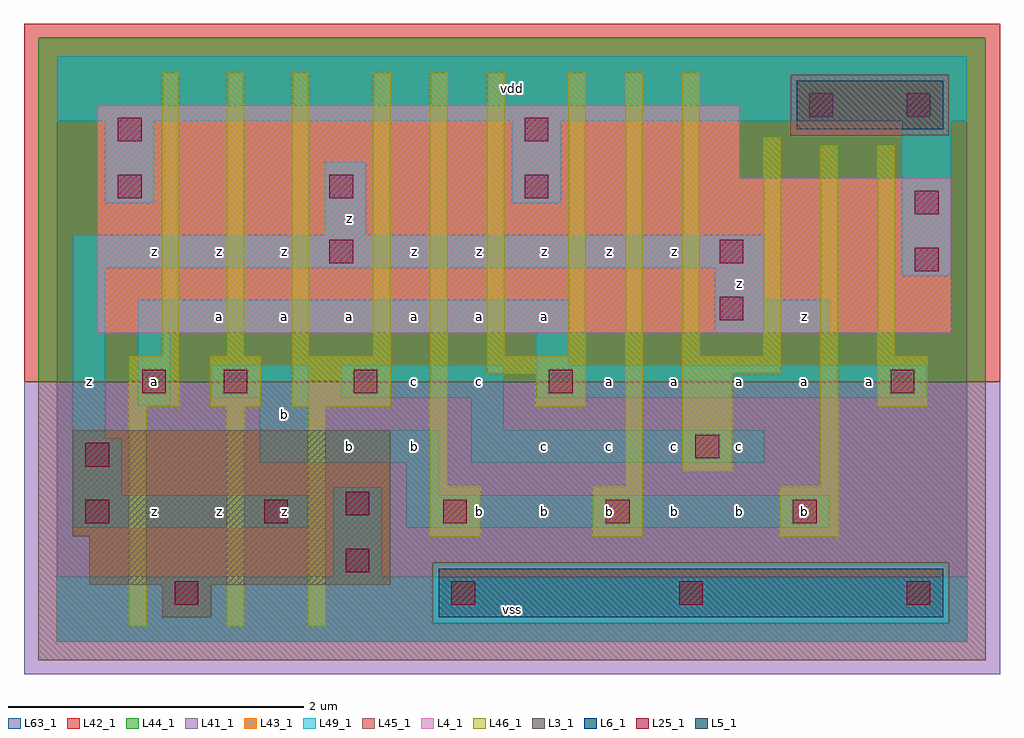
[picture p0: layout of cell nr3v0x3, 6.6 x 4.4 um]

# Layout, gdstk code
import gdstk
lib = gdstk.Library(unit=1e-6, precision=1e-09)
def R(c, l, rs):  # rectangles x0, y0, x1, y1
    for r in rs: c.add(gdstk.rectangle(r[:2], r[2:], *l))
def A(c, l, x, y, w, h, nx, ny, dx, dy):  # array of equal rectangles
    R(c, l, [(x+i*dx, y+j*dy, x+i*dx+w, y+j*dy+h) for i in range(nx) for j in range(ny)])
L3_1 = (3, 1)
L4_1 = (4, 1)
L5_1 = (5, 1)
L6_1 = (6, 1)
L25_1 = (25, 1)
L41_1 = (41, 1)
L42_1 = (42, 1)
L43_1 = (43, 1)
L44_1 = (44, 1)
L45_1 = (45, 1)
L46_1 = (46, 1)
L49_1 = (49, 1)
L63_1 = (63, 1)

nr3v0x3 = lib.new_cell('nr3v0x3')
R(nr3v0x3, L3_1, [(0.715,0.165,1.045,0.385), (0.22,0.385,2.255,0.715), (0.11,0.715,2.255,1.43)])
R(nr3v0x3, L4_1, [(0.275,2.09,6.05,3.135), (0.275,3.135,4.62,3.63)])
R(nr3v0x3, L5_1, [(5.005,3.465,5.995,3.795)])
R(nr3v0x3, L6_1, [(2.585,0.165,5.995,0.495)])
A(nr3v0x3, L25_1, 2.67, 0.25, 0.16, 0.16, 3, 1, 1.54, 0)
A(nr3v0x3, L25_1, 0.195, 0.8, 0.16, 0.16, 3, 1, 1.21, 0)
R(nr3v0x3, L25_1, [(0.8,0.25,0.96,0.41), (1.955,0.47,2.115,0.63), (3.715,0.8,3.875,0.96), (4.98,0.8,5.14,0.96), (1.955,0.855,2.115,1.015), (0.195,1.185,0.355,1.345), (4.32,1.24,4.48,1.4), (0.58,1.68,0.74,1.84), (1.13,1.68,1.29,1.84), (2.01,1.68,2.17,1.84), (3.33,1.68,3.49,1.84), (5.64,1.68,5.8,1.84), (4.485,2.175,4.645,2.335), (5.805,2.505,5.965,2.665), (1.845,2.56,2.005,2.72), (4.485,2.56,4.645,2.72), (5.805,2.89,5.965,3.05), (0.415,3,0.575,3.16), (1.845,3,2.005,3.16), (3.165,3,3.325,3.16), (0.415,3.385,0.575,3.545), (3.165,3.385,3.325,3.545), (5.09,3.55,5.25,3.71), (5.75,3.55,5.91,3.71)])
R(nr3v0x3, L41_1, [(-0.22,-0.22,6.38,1.76)])
R(nr3v0x3, L42_1, [(-0.22,1.76,6.38,4.18)])
R(nr3v0x3, L43_1, [(0.715,0.165,1.045,0.385), (2.585,0.165,5.995,0.495), (0.22,0.385,2.255,0.715), (0.11,0.715,2.255,1.43), (0.275,2.09,6.05,3.135), (0.275,3.135,4.62,3.63), (5.005,3.465,5.995,3.795)])
R(nr3v0x3, L44_1, [(2.545,0.125,6.035,0.535), (-0.125,1.76,6.285,3.425), (-0.125,3.425,4.965,3.835), (6.035,3.425,6.285,3.835), (-0.125,3.835,6.285,4.085)])
R(nr3v0x3, L45_1, [(-0.125,-0.125,6.285,0.125), (-0.125,0.125,2.545,0.535), (6.035,0.125,6.285,0.535), (-0.125,0.535,6.285,1.76), (4.965,3.425,6.035,3.835)])
A(nr3v0x3, L46_1, 0.71, 1.93, 0.12, 1.925, 3, 1, 0.44, 0)
R(nr3v0x3, L46_1, [(0.49,0.105,0.61,1.59), (1.15,0.105,1.27,1.59), (1.7,0.105,1.82,1.59), (2.525,0.71,2.865,1.05), (3.625,0.71,3.965,1.05), (4.89,0.71,5.285,1.05), (2.525,1.05,2.645,3.855), (3.845,1.05,3.965,3.855), (5.165,1.05,5.285,3.36), (4.23,1.15,4.57,1.81), (0.49,1.59,0.83,1.93), (1.04,1.59,1.38,1.93), (1.59,1.59,2.26,1.93), (3.24,1.59,3.58,1.81), (5.55,1.59,5.89,1.93), (2.91,1.81,3.58,1.93), (4.23,1.81,4.9,1.93), (2.14,1.93,2.26,3.855), (2.91,1.93,3.03,3.855), (3.46,1.93,3.58,3.855), (4.23,1.93,4.35,3.855), (4.78,1.93,4.9,3.415), (5.55,1.93,5.67,3.36)])
R(nr3v0x3, L49_1, [(0,0,6.16,0.44), (1.87,0.44,2.2,1.045), (0.11,0.77,1.705,0.99), (2.365,0.77,5.225,0.99), (0.11,0.99,0.44,1.375), (2.365,0.99,2.585,1.21), (1.375,1.21,2.585,1.43), (2.805,1.21,4.785,1.43), (0.11,1.375,0.33,2.53), (1.375,1.43,1.705,1.65), (2.805,1.43,3.025,1.65), (0.55,1.595,0.77,2.09), (1.045,1.65,1.705,1.87), (1.925,1.65,3.025,1.87), (3.245,1.65,5.885,1.87), (3.245,1.87,3.465,2.09), (0.55,2.09,3.465,2.31), (4.455,2.09,5.225,2.31), (4.455,2.31,4.785,2.53), (5.72,2.475,6.05,3.52), (0.11,2.53,4.785,2.75), (1.815,2.75,2.09,3.245), (0.33,2.97,0.66,3.52), (3.08,2.97,3.41,3.52), (0,3.52,6.16,3.96)])
R(nr3v0x3, L63_1, [(0,0,6.16,3.96)])
nr3v0x3.add(gdstk.Label('z', (0.66,0.88), layer=49, texttype=1))
nr3v0x3.add(gdstk.Label('z', (0.22,1.76), layer=49, texttype=1))
nr3v0x3.add(gdstk.Label('a', (0.66,1.76), layer=49, texttype=1))
nr3v0x3.add(gdstk.Label('z', (0.66,2.64), layer=49, texttype=1))
nr3v0x3.add(gdstk.Label('z', (1.54,0.88), layer=49, texttype=1))
nr3v0x3.add(gdstk.Label('z', (1.1,0.88), layer=49, texttype=1))
nr3v0x3.add(gdstk.Label('b', (1.98,1.32), layer=49, texttype=1))
nr3v0x3.add(gdstk.Label('b', (1.54,1.54), layer=49, texttype=1))
nr3v0x3.add(gdstk.Label('a', (1.1,2.2), layer=49, texttype=1))
nr3v0x3.add(gdstk.Label('a', (1.98,2.2), layer=49, texttype=1))
nr3v0x3.add(gdstk.Label('a', (1.54,2.2), layer=49, texttype=1))
nr3v0x3.add(gdstk.Label('z', (1.1,2.64), layer=49, texttype=1))
nr3v0x3.add(gdstk.Label('z', (1.98,2.86), layer=49, texttype=1))
nr3v0x3.add(gdstk.Label('z', (1.54,2.64), layer=49, texttype=1))
nr3v0x3.add(gdstk.Label('vss', (3.08,0.22), layer=49, texttype=1))
nr3v0x3.add(gdstk.Label('b', (3.3,0.88), layer=49, texttype=1))
nr3v0x3.add(gdstk.Label('b', (2.86,0.88), layer=49, texttype=1))
nr3v0x3.add(gdstk.Label('b', (2.42,1.32), layer=49, texttype=1))
nr3v0x3.add(gdstk.Label('c', (3.3,1.32), layer=49, texttype=1))
nr3v0x3.add(gdstk.Label('c', (2.86,1.76), layer=49, texttype=1))
nr3v0x3.add(gdstk.Label('c', (2.42,1.76), layer=49, texttype=1))
nr3v0x3.add(gdstk.Label('a', (2.42,2.2), layer=49, texttype=1))
nr3v0x3.add(gdstk.Label('a', (3.3,2.2), layer=49, texttype=1))
nr3v0x3.add(gdstk.Label('a', (2.86,2.2), layer=49, texttype=1))
nr3v0x3.add(gdstk.Label('z', (2.42,2.64), layer=49, texttype=1))
nr3v0x3.add(gdstk.Label('z', (3.3,2.64), layer=49, texttype=1))
nr3v0x3.add(gdstk.Label('z', (2.86,2.64), layer=49, texttype=1))
nr3v0x3.add(gdstk.Label('vdd', (3.08,3.74), layer=49, texttype=1))
nr3v0x3.add(gdstk.Label('b', (4.62,0.88), layer=49, texttype=1))
nr3v0x3.add(gdstk.Label('b', (4.18,0.88), layer=49, texttype=1))
nr3v0x3.add(gdstk.Label('b', (3.74,0.88), layer=49, texttype=1))
nr3v0x3.add(gdstk.Label('c', (3.74,1.32), layer=49, texttype=1))
nr3v0x3.add(gdstk.Label('c', (4.62,1.32), layer=49, texttype=1))
nr3v0x3.add(gdstk.Label('c', (4.18,1.32), layer=49, texttype=1))
nr3v0x3.add(gdstk.Label('a', (4.62,1.76), layer=49, texttype=1))
nr3v0x3.add(gdstk.Label('a', (4.18,1.76), layer=49, texttype=1))
nr3v0x3.add(gdstk.Label('a', (3.74,1.76), layer=49, texttype=1))
nr3v0x3.add(gdstk.Label('z', (4.62,2.42), layer=49, texttype=1))
nr3v0x3.add(gdstk.Label('z', (3.74,2.64), layer=49, texttype=1))
nr3v0x3.add(gdstk.Label('z', (4.18,2.64), layer=49, texttype=1))
nr3v0x3.add(gdstk.Label('b', (5.06,0.88), layer=49, texttype=1))
nr3v0x3.add(gdstk.Label('a', (5.5,1.76), layer=49, texttype=1))
nr3v0x3.add(gdstk.Label('a', (5.06,1.76), layer=49, texttype=1))
nr3v0x3.add(gdstk.Label('z', (5.06,2.2), layer=49, texttype=1))

lib.write_gds('nr3v0x3.gds')
